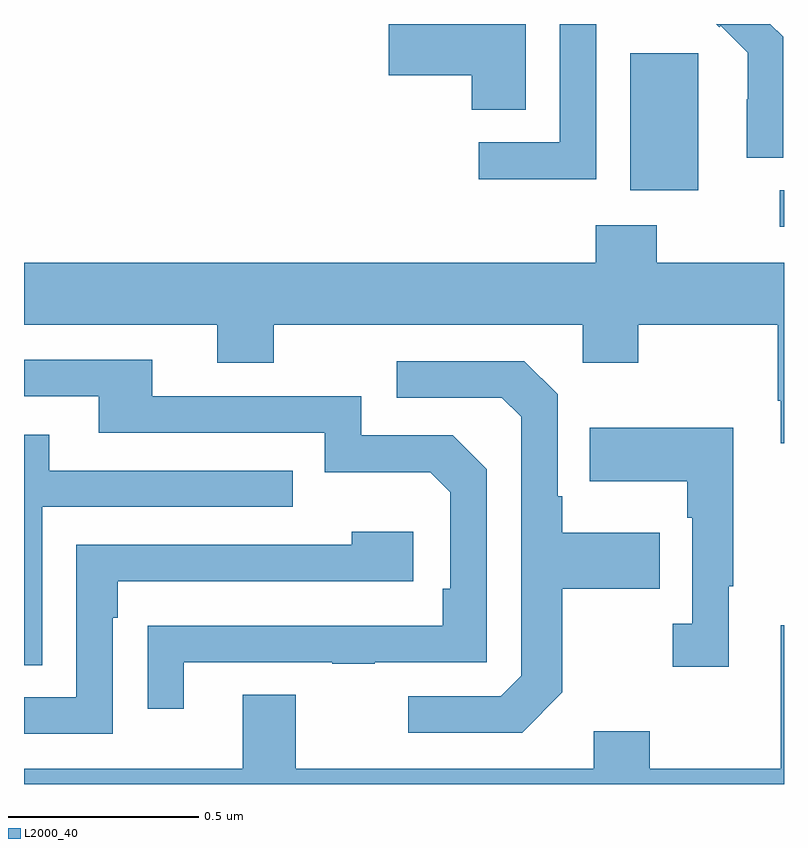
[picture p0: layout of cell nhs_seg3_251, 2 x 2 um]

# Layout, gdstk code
import gdstk
lib = gdstk.Library(unit=1e-6, precision=1e-09)
def R(c, l, rs):  # rectangles x0, y0, x1, y1
    for r in rs: c.add(gdstk.rectangle(r[:2], r[2:], *l))
def P(c, l, *ps):  # polygons
    for p in ps: c.add(gdstk.Polygon(p, *l))
L2000_40 = (2000, 40)

nhs_seg3_251 = lib.new_cell('nhs_seg3_251')
R(nhs_seg3_251, L2000_40, [(115.989,675.867,116,675.963), (115.595,675.962,115.774,676.323)])
P(nhs_seg3_251, L2000_40, [(115.998,676.366),(115.964,676.4),(115.822,676.4),(115.83,676.392),(115.833,676.395),(115.904,676.325),(115.904,676.202),(115.902,676.202),(115.902,676.048),(115.998,676.048)],
  [(115.506,676.4),(115.41,676.4),(115.41,676.089),(115.197,676.089),(115.197,675.991),(115.506,675.991)],
  [(115.321,676.4),(114.96,676.4),(114.96,676.265),(115.178,676.265),(115.178,676.174),(115.321,676.174)],
  [(116,675.772),(115.665,675.772),(115.665,675.871),(115.505,675.871),(115.505,675.772),(114,675.772),(114,675.608),(114.509,675.608),(114.509,675.509),(114.657,675.509),(114.657,675.608),(115.47,675.608),(115.47,675.509),(115.617,675.509),(115.617,675.608),(115.984,675.608),(115.984,675.409),(115.991,675.409),(115.991,675.297),(116,675.297)],
  [(114.421,674.721),(114.811,674.721),(114.811,674.716),(114.923,674.716),(114.923,674.721),(115.218,674.721),(115.218,675.228),(115.128,675.318),(114.888,675.318),(114.888,675.42),(114.337,675.42),(114.337,675.516),(114,675.516),(114,675.42),(114.197,675.42),(114.197,675.324),(114.792,675.324),(114.792,675.221),(115.069,675.221),(115.122,675.168),(115.122,674.914),(115.102,674.914),(115.102,674.817),(114.427,674.817),(114.427,674.816),(114.325,674.816),(114.325,674.598),(114.421,674.598)],
  [(115.417,674.641),(115.417,674.914),(115.673,674.914),(115.673,675.061),(115.417,675.061),(115.417,675.157),(115.404,675.157),(115.404,675.426),(115.317,675.513),(114.981,675.513),(114.981,675.417),(115.257,675.417),(115.308,675.366),(115.308,674.685),(115.254,674.631),(115.011,674.631),(115.011,674.535),(115.311,674.535)],
  [(115.855,674.921),(115.867,674.921),(115.867,675.337),(115.489,675.337),(115.489,675.197),(115.746,675.197),(115.746,675.101),(115.758,675.101),(115.758,674.822),(115.707,674.822),(115.707,674.709),(115.855,674.709)],
  [(114.048,675.129),(114.707,675.129),(114.707,675.225),(114.067,675.225),(114.067,675.319),(114,675.319),(114,674.713),(114.048,674.713)],
  [(114.234,674.837),(114.247,674.837),(114.247,674.934),(115.024,674.934),(115.024,675.064),(114.863,675.064),(114.863,675.03),(114.138,675.03),(114.138,674.628),(114,674.628),(114,674.532),(114.234,674.532)],
  [(116,674.818),(115.991,674.818),(115.991,674.44),(115.647,674.44),(115.647,674.539),(115.499,674.539),(115.499,674.44),(114.715,674.44),(114.715,674.635),(114.575,674.635),(114.575,674.44),(114,674.44),(114,674.4),(116,674.4)])

lib.write_gds('nhs_seg3_251.gds')
